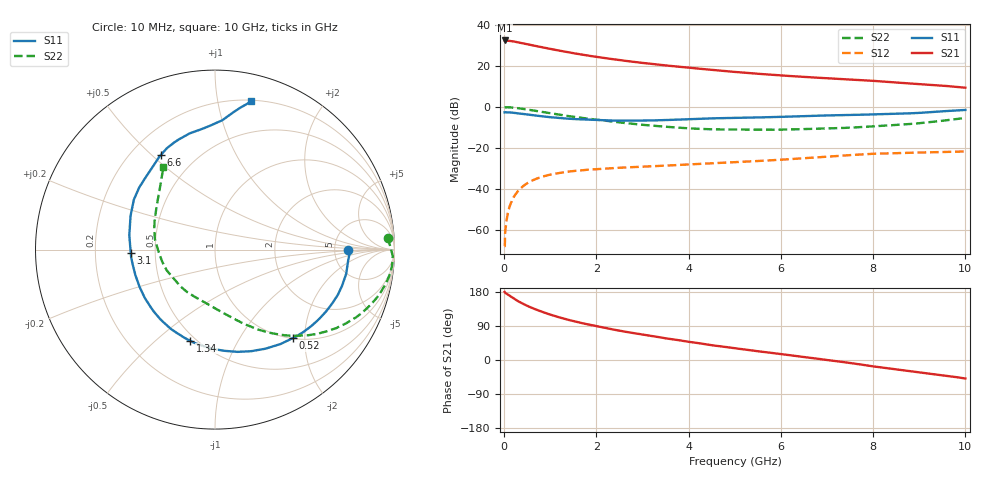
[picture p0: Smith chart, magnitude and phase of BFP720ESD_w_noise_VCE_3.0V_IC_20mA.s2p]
! Infineon Technologies  Discrete & RF Semiconductors
! BFP720ESD
! VCE =  3.0 V,  IC =  20 mA
! Common Emitter S-Parameters:  Jan 2016
# GHz  S  MA  R  50
!  f  S11  S21  S12  S22
! GHz  MAG  ANG  MAG  ANG  MAG  ANG  MAG  ANG
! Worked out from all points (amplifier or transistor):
!   233 points, 10 MHz to 10 GHz, reference 50 ohm
!   highest |S21| = 32.6 dB at 10 MHz (marker M1)
!   |S21| within 3 dB of that: start of sweep to 750.5 MHz
!   unconditionally stable (mu >= 1): 4.513 GHz to 6.936 GHz
!   at 200 MHz: K = 0.13, MSG = 38.2 dB, |S12| = -44.3 dB
!   at 1.74 GHz: K = 0.56, MSG = 28.1 dB, |S12| = -30.8 dB
!   at 10 GHz: K = 0.68, MSG = 15.6 dB, |S12| = -21.7 dB
!   lowest NFmin = 0.95 dB at 450 MHz
!   S11 on the Smith chart (normalised r, x): 10 MHz: 6.79, -0.12; 520 MHz: 1.01, -1.75; 1.34 GHz: 0.46, -0.65; 3.1 GHz: 0.36, -0.02; 6.6 GHz: 0.32, +0.53; 10 GHz: 0.21, +1.25
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0.01  0.7434 -0.3  42.47 179.5  0.0004 -172.9  0.9652 4.0
0.02  0.7504 -1.6  41.97 177.5  0.0008 89.4  0.9807 0.0
0.1  0.7434 -10.3  41.66 171.2  0.0032 86.0  0.9902 -5.5
0.145  0.7377 -14.8  41.09 167.3  0.0045 81.8  0.9828 -8.2
0.26  0.7156 -25.9  39.06 158.1  0.0078 76.3  0.953 -14.5
0.4  0.6851 -38.5  36.37 148.8  0.0114 70.3  0.9071 -21.2
0.52  0.6567 -48.6  34.04 141.8  0.0142 65.8  0.8653 -26.3
0.7  0.6194 -63.1  30.92 132.7  0.0178 59.7  0.8034 -33.1
0.9  0.5834 -77.6  27.83 123.8  0.0211 54.0  0.7384 -39.5
1.1  0.5538 -91.0  25.12 116.0  0.0236 49.4  0.6782 -45.0
1.34  0.5262 -105.4  22.36 107.7  0.0261 44.9  0.616 -50.8
1.68  0.4996 -122.9  19.22 97.5  0.0286 40.3  0.5454 -57.5
1.98  0.4833 -136.2  17 89.7  0.0304 37.6  0.4961 -62.6
2.34  0.4697 -151.1  14.9 81.0  0.0322 35.0  0.4443 -68.6
3.1  0.4698 -177.9  11.67 65.2  0.0354 31.9  0.3611 -81.4
3.4  0.4787 173.3  10.72 59.4  0.0367 31.3  0.3383 -86.8
4  0.5067 158.2  9.186 48.0  0.0397 30.4  0.3032 -99.1
5.1  0.5478 139.3  7.082 29.5  0.0458 28.1  0.2819 -125.3
6.6  0.6073 119.8  5.383 6.3  0.0572 24.3  0.2936 -158.6
6.8  0.6159 117.6  5.217 3.3  0.0593 23.5  0.2966 -162.6
8.4  0.6774 95.7  4.057 -23.4  0.0747 10.3  0.3607 159.7
10  0.8517 76.2  2.979 -48.8  0.0825 -2.2  0.5426 122.0
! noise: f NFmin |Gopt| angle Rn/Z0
0.45  0.95  0.04  -8  0.11
0.9  0.97  0.03  -30  0.12
1.9  0.99  0.04  -77  0.14
2.4  1  0.06  -94  0.15
5.5  1.16  0.21  -108  0.13
10  1.52  0.52  -86  0.45
